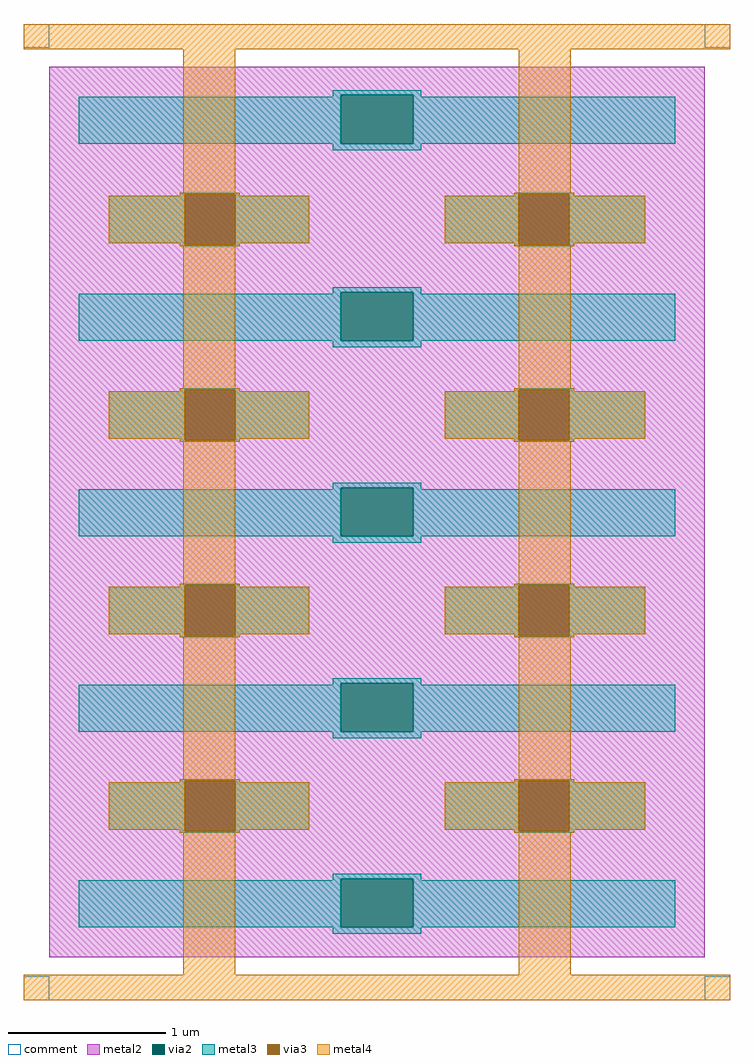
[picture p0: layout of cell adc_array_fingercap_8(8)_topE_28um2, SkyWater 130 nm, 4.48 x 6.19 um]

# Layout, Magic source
magic
tech sky130A
<< metal2 >>
rect 163 590 579 608
rect 163 559 348 590
rect 394 559 579 590
rect 163 465 579 559
rect 163 434 348 465
rect 394 434 579 465
rect 163 341 579 434
rect 163 310 348 341
rect 394 310 579 341
rect 163 217 579 310
rect 163 186 348 217
rect 394 186 579 217
rect 163 93 579 186
rect 163 62 348 93
rect 394 62 579 93
rect 163 43 579 62
<< via2 >>
rect 348 559 394 590
rect 348 434 394 465
rect 348 310 394 341
rect 348 186 394 217
rect 348 62 394 93
<< metal3 >>
rect 343 590 399 593
rect 343 589 348 590
rect 182 559 348 589
rect 394 589 399 590
rect 394 559 560 589
rect 343 555 399 559
rect 246 527 284 528
rect 246 526 249 527
rect 201 496 249 526
rect 246 495 249 496
rect 281 526 284 527
rect 458 527 496 528
rect 458 526 461 527
rect 281 496 328 526
rect 414 496 461 526
rect 281 495 284 496
rect 246 494 284 495
rect 458 495 461 496
rect 493 526 496 527
rect 493 496 541 526
rect 493 495 496 496
rect 458 494 496 495
rect 343 465 399 468
rect 343 464 348 465
rect 182 434 348 464
rect 394 464 399 465
rect 394 434 560 464
rect 343 430 399 434
rect 246 403 284 404
rect 246 402 249 403
rect 201 372 249 402
rect 246 371 249 372
rect 281 402 284 403
rect 458 403 496 404
rect 458 402 461 403
rect 281 372 328 402
rect 414 372 461 402
rect 281 371 284 372
rect 246 370 284 371
rect 458 371 461 372
rect 493 402 496 403
rect 493 372 541 402
rect 493 371 496 372
rect 458 370 496 371
rect 343 341 399 344
rect 343 340 348 341
rect 182 310 348 340
rect 394 340 399 341
rect 394 310 560 340
rect 343 306 399 310
rect 246 279 284 280
rect 246 278 249 279
rect 201 248 249 278
rect 246 247 249 248
rect 281 278 284 279
rect 458 279 496 280
rect 458 278 461 279
rect 281 248 328 278
rect 414 248 461 278
rect 281 247 284 248
rect 246 246 284 247
rect 458 247 461 248
rect 493 278 496 279
rect 493 248 541 278
rect 493 247 496 248
rect 458 246 496 247
rect 343 217 399 220
rect 343 216 348 217
rect 182 186 348 216
rect 394 216 399 217
rect 394 186 560 216
rect 343 182 399 186
rect 246 155 284 156
rect 246 154 249 155
rect 201 124 249 154
rect 246 123 249 124
rect 281 154 284 155
rect 458 155 496 156
rect 458 154 461 155
rect 281 124 328 154
rect 414 124 461 154
rect 281 123 284 124
rect 246 122 284 123
rect 458 123 461 124
rect 493 154 496 155
rect 493 124 541 154
rect 493 123 496 124
rect 458 122 496 123
rect 343 93 399 96
rect 343 92 348 93
rect 182 62 348 92
rect 394 92 399 93
rect 394 62 560 92
rect 343 58 399 62
<< via3 >>
rect 249 495 281 527
rect 461 495 493 527
rect 249 371 281 403
rect 461 371 493 403
rect 249 247 281 279
rect 461 247 493 279
rect 249 123 281 155
rect 461 123 493 155
<< metal4 >>
rect 147 619 595 635
rect 248 528 281 619
rect 461 528 494 619
rect 246 527 284 528
rect 246 526 249 527
rect 201 496 249 526
rect 246 495 249 496
rect 281 526 284 527
rect 458 527 496 528
rect 458 526 461 527
rect 281 496 328 526
rect 414 496 461 526
rect 281 495 284 496
rect 246 494 284 495
rect 458 495 461 496
rect 493 526 496 527
rect 493 496 541 526
rect 493 495 496 496
rect 458 494 496 495
rect 248 404 281 494
rect 461 404 494 494
rect 246 403 284 404
rect 246 402 249 403
rect 201 372 249 402
rect 246 371 249 372
rect 281 402 284 403
rect 458 403 496 404
rect 458 402 461 403
rect 281 372 328 402
rect 414 372 461 402
rect 281 371 284 372
rect 246 370 284 371
rect 458 371 461 372
rect 493 402 496 403
rect 493 372 541 402
rect 493 371 496 372
rect 458 370 496 371
rect 248 280 281 370
rect 461 280 494 370
rect 246 279 284 280
rect 246 278 249 279
rect 201 248 249 278
rect 246 247 249 248
rect 281 278 284 279
rect 458 279 496 280
rect 458 278 461 279
rect 281 248 328 278
rect 414 248 461 278
rect 281 247 284 248
rect 246 246 284 247
rect 458 247 461 248
rect 493 278 496 279
rect 493 248 541 278
rect 493 247 496 248
rect 458 246 496 247
rect 248 156 281 246
rect 461 156 494 246
rect 246 155 284 156
rect 246 154 249 155
rect 201 124 249 154
rect 246 123 249 124
rect 281 154 284 155
rect 458 155 496 156
rect 458 154 461 155
rect 281 124 328 154
rect 414 124 461 154
rect 281 123 284 124
rect 246 122 284 123
rect 458 123 461 124
rect 493 154 496 155
rect 493 124 541 154
rect 493 123 496 124
rect 458 122 496 123
rect 248 32 281 122
rect 461 32 494 122
rect 147 16 595 32
<< comment >>
rect 147 620 163 635
rect 579 620 595 635
rect 147 16 163 31
rect 579 16 595 31
<< end >>
